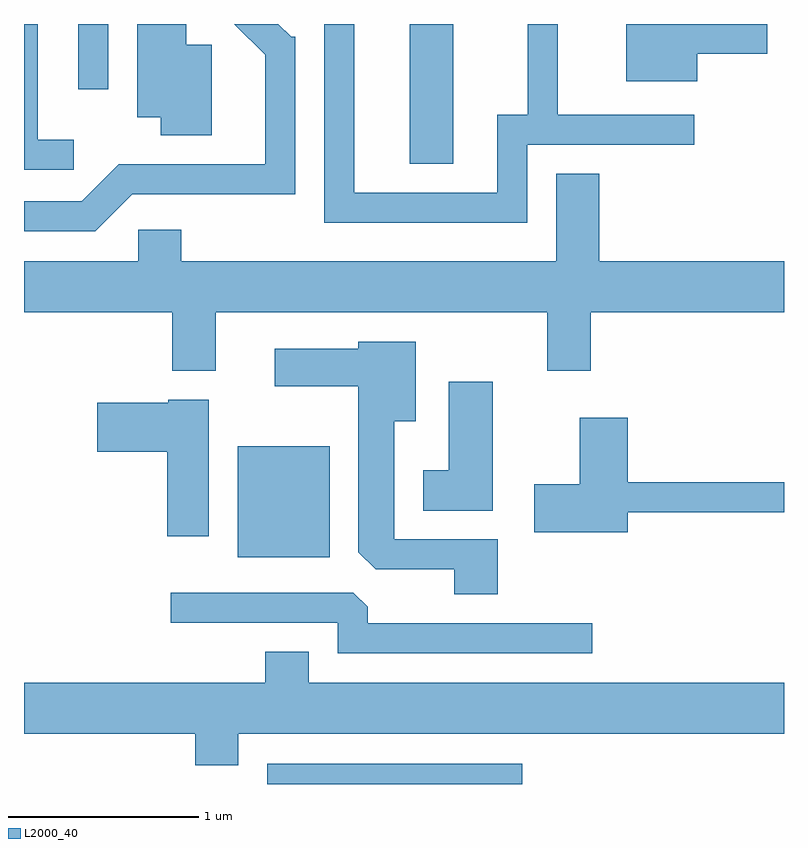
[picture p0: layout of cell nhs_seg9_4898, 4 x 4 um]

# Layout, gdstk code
import gdstk
lib = gdstk.Library(unit=1e-6, precision=1e-09)
def R(c, l, rs):  # rectangles x0, y0, x1, y1
    for r in rs: c.add(gdstk.rectangle(r[:2], r[2:], *l))
def P(c, l, *ps):  # polygons
    for p in ps: c.add(gdstk.Polygon(p, *l))
L2000_40 = (2000, 40)

nhs_seg9_4898 = lib.new_cell('nhs_seg9_4898')
R(nhs_seg9_4898, L2000_40, [(330.891,2000.432,332.233,2000.539), (330.736,2001.626,331.219,2002.209), (331.641,2003.696,331.869,2004.432), (329.896,2004.088,330.054,2004.432)])
P(nhs_seg9_4898, L2000_40, [(332.259,2003.796),(333.138,2003.796),(333.138,2003.954),(332.419,2003.954),(332.419,2004.432),(332.261,2004.432),(332.261,2003.954),(332.101,2003.954),(332.101,2003.544),(331.349,2003.544),(331.349,2004.432),(331.191,2004.432),(331.191,2003.386),(332.259,2003.386)],
  [(329.873,2003.824),(329.684,2003.824),(329.684,2004.432),(329.611,2004.432),(329.611,2003.666),(329.873,2003.666)],
  [(330.599,2004.324),(330.464,2004.324),(330.464,2004.432),(330.206,2004.432),(330.206,2003.941),(330.331,2003.941),(330.331,2003.846),(330.599,2003.846)],
  [(333.154,2004.276),(333.524,2004.276),(333.524,2004.432),(332.781,2004.432),(332.781,2004.131),(333.154,2004.131)],
  [(330.182,2003.536),(331.039,2003.536),(331.039,2004.364),(331.017,2004.364),(330.949,2004.432),(330.718,2004.432),(330.881,2004.269),(330.881,2003.694),(330.109,2003.694),(329.914,2003.499),(329.611,2003.499),(329.611,2003.341),(329.987,2003.341)],
  [(330.619,2002.916),(332.366,2002.916),(332.366,2002.606),(332.594,2002.606),(332.594,2002.916),(333.611,2002.916),(333.611,2003.184),(332.639,2003.184),(332.639,2003.644),(332.411,2003.644),(332.411,2003.184),(330.439,2003.184),(330.439,2003.349),(330.211,2003.349),(330.211,2003.184),(329.611,2003.184),(329.611,2002.916),(330.391,2002.916),(330.391,2002.606),(330.619,2002.606)],
  [(332.104,2001.719),(331.559,2001.719),(331.559,2002.341),(331.674,2002.341),(331.674,2002.759),(331.371,2002.759),(331.371,2002.724),(330.931,2002.724),(330.931,2002.526),(331.371,2002.526),(331.371,2001.652),(331.462,2001.561),(331.876,2001.561),(331.876,2001.431),(332.104,2001.431)],
  [(332.079,2002.549),(331.846,2002.549),(331.846,2002.084),(331.711,2002.084),(331.711,2001.871),(332.079,2001.871)],
  [(330.584,2002.454),(330.37,2002.454),(330.37,2002.439),(329.996,2002.439),(329.996,2002.181),(330.366,2002.181),(330.366,2001.736),(330.584,2001.736)],
  [(332.789,2001.861),(333.611,2001.861),(333.611,2002.019),(332.789,2002.019),(332.789,2002.359),(332.536,2002.359),(332.536,2002.009),(332.296,2002.009),(332.296,2001.756),(332.789,2001.756)],
  [(332.603,2001.279),(331.419,2001.279),(331.419,2001.364),(331.344,2001.439),(330.383,2001.439),(330.383,2001.281),(331.261,2001.281),(331.261,2001.121),(332.603,2001.121)],
  [(330.739,2000.696),(333.611,2000.696),(333.611,2000.964),(331.109,2000.964),(331.109,2001.129),(330.881,2001.129),(330.881,2000.964),(329.611,2000.964),(329.611,2000.696),(330.511,2000.696),(330.511,2000.531),(330.739,2000.531)])

lib.write_gds('nhs_seg9_4898.gds')
